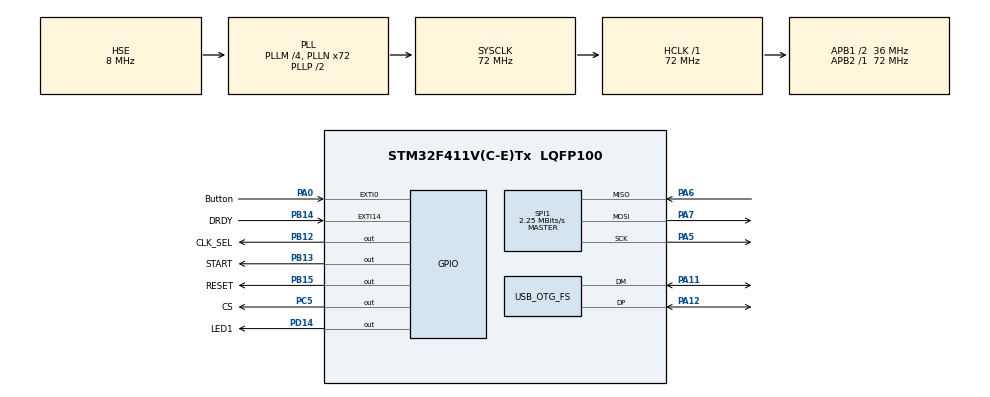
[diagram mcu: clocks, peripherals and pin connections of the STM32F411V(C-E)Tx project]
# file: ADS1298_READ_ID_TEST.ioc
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Mcu.Family=STM32F4
Mcu.Name=STM32F411V(C-E)Tx
Mcu.Package=LQFP100
NVIC.EXTI0_IRQn=true\:0\:0\:false\:false\:true\:true\:true
NVIC.EXTI15_10_IRQn=true\:0\:0\:false\:false\:true\:true\:true
NVIC.OTG_FS_IRQn=true\:0\:0\:false\:false\:true\:false\:true
NVIC.PriorityGroup=NVIC_PRIORITYGROUP_4
PA0-WKUP.GPIO_Label=Button
PA0-WKUP.Signal=GPXTI0
PA11.Mode=Device_Only
PA11.Signal=USB_OTG_FS_DM
PA12.Mode=Device_Only
PA12.Signal=USB_OTG_FS_DP
PA5.Mode=Full_Duplex_Master
PA5.Signal=SPI1_SCK
PA6.Mode=Full_Duplex_Master
PA6.Signal=SPI1_MISO
PA7.Mode=Full_Duplex_Master
PA7.Signal=SPI1_MOSI
PB12.GPIO_Label=CLK_SEL
PB12.Signal=GPIO_Output
PB13.GPIO_Label=START
PB13.Signal=GPIO_Output
PB14.GPIO_Label=DRDY
PB14.GPIO_PuPd=GPIO_PULLDOWN
PB14.Signal=GPXTI14
PB15.GPIO_Label=RESET
PB15.Signal=GPIO_Output
PC5.GPIO_Label=CS
PC5.PinState=GPIO_PIN_SET
PC5.Signal=GPIO_Output
PD14.GPIO_Label=LED1
PD14.Signal=GPIO_Output
PH0\ -\ OSC_IN.Mode=HSE-External-Oscillator
PH0\ -\ OSC_IN.Signal=RCC_OSC_IN
PH1\ -\ OSC_OUT.Mode=HSE-External-Oscillator
PH1\ -\ OSC_OUT.Signal=RCC_OSC_OUT
ProjectManager.HeapSize=0x200
ProjectManager.StackSize=0x400
ProjectManager.TargetToolchain=TrueSTUDIO
RCC.48MHZClocksFreq_Value=48000000
RCC.AHBFreq_Value=72000000
RCC.APB1CLKDivider=RCC_HCLK_DIV2
RCC.APB1Freq_Value=36000000
RCC.APB1TimFreq_Value=72000000
RCC.APB2Freq_Value=72000000
RCC.APB2TimFreq_Value=72000000
RCC.CortexFreq_Value=72000000
RCC.EnbaleCSS=true
RCC.HCLKFreq_Value=72000000
RCC.HSE_VALUE=8000000
RCC.HSI_VALUE=16000000
RCC.LSE_VALUE=32768
RCC.PLLM=4
RCC.PLLN=72
RCC.PLLQ=3
RCC.SYSCLKFreq_VALUE=72000000
RCC.SYSCLKSource=RCC_SYSCLKSOURCE_PLLCLK
RCC.VCOOutputFreq_Value=144000000
SPI1.BaudRatePrescaler=SPI_BAUDRATEPRESCALER_32
SPI1.CLKPhase=SPI_PHASE_2EDGE
SPI1.CalculateBaudRate=2.25 MBits/s
SPI1.Direction=SPI_DIRECTION_2LINES
SPI1.Mode=SPI_MODE_MASTER
SPI1.VirtualType=VM_MASTER
USB_DEVICE.CLASS_NAME_FS=CDC
USB_DEVICE.VirtualMode=Cdc
USB_DEVICE.VirtualModeFS=Cdc_FS
USB_OTG_FS.VirtualMode=Device_Only
VP_USB_DEVICE_VS_USB_DEVICE_CDC_FS.Mode=CDC_FS
board=custom

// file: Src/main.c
/* USER CODE BEGIN Header */
/**
  ******************************************************************************
  * @file           : main.c
  * @brief          : Main program body
  ******************************************************************************
  * @attention
  *
  * <h2><center>&copy; Copyright (c) 2019 STMicroelectronics.
  * All rights reserved.</center></h2>
  *
  * This software component is licensed by ST under Ultimate Liberty license
  * SLA0044, the "License"; You may not use this file except in compliance with
  * the License. You may obtain a copy of the License at:
  *                             www.st.com/SLA0044
  *
  ******************************************************************************
  */
/* USER CODE END Header */

#include "main.h"
#include "stm32f4xx_hal.h"

#include "usb_device.h"

#include <string.h>

#include "usbd_cdc_if.h"

#include "stdbool.h"

/* USER CODE BEGIN PV */
/* Private variables ---------------------------------------------------------*/
uint8_t DataToSend[40]; //
uint8_t MessageCounter = 0;
uint8_t MessageLength = 0;
/* USER CODE END PV */
bool intDRDY = false; // Flag to ready data from ADS1298
/* USER CODE BEGIN PD */
// system commands
#define  WAKEUP 0x02
#define  STANDBY 0x04
#define  RESET 0x06
#define START 0x08
#define STOP 0x0A

// read commands
#define RDATAC 0x10
#define SDATAC 0x11
#define RDATA  0x12

// register commands
#define RREG 0x20
#define WREG 0x40

//Register Addresses
#define ID 0x00
#define CONFIG1 0x01
#define CONFIG2 0x02
#define CONFIG3 0x03
#define LOFF 0x04
#define CH1SET 0x05
#define CH2SET 0x06
#define CH3SET 0x07
#define CH4SET 0x08
#define CH5SET 0x09
#define CH6SET 0x0A
#define CH7SET 0x0B
#define CH8SET 0x0C
#define BIAS_SENSP 0x0D
#define BIAS_SENSN 0x0E
#define LOFF_SENSP 0x0F
#define LOFF_SENSN 0x10
#define LOFF_FLIP 0x11
#define LOFF_STATP 0x12
#define LOFF_STATN 0x13
#define GPIO 0x14
#define MISC1 0x15
#define MISC2 0x16
#define CONFIG4 0x17
/* USER CODE END PD */

SPI_HandleTypeDef hspi1;

void SystemClock_Config(void);
static void MX_GPIO_Init(void);
static void MX_SPI1_Init(void);

int32_t channelData [50];	// array used when reading channel data board 1+2
uint8_t channelData1 [28];	// array used when reading channel data board 1+2

int stat_1;

uint8_t transferSPI(uint8_t send);

void ADS_SEND_COMMAND(uint8_t cmd)
{
	HAL_GPIO_WritePin(CS_GPIO_Port, CS_Pin, GPIO_PIN_RESET);	//  Open SPI
	transferSPI(cmd); 		//  opcode1
	//DelayUs(1);
	HAL_GPIO_WritePin(CS_GPIO_Port, CS_Pin, GPIO_PIN_SET);		//  close SPI
}

uint8_t ADS_RREG(uint8_t reg){		//  reads ONE register at _address

	uint8_t val = 0;

	HAL_GPIO_WritePin(CS_GPIO_Port, CS_Pin, GPIO_PIN_RESET);			//  open SPI
	transferSPI(RREG|reg ); 								//  opcode1
	transferSPI(0); 											//  opcode2
	val = transferSPI(0);		//  update mirror location with returned byte
	HAL_GPIO_WritePin(CS_GPIO_Port, CS_Pin, GPIO_PIN_SET);				//  close SPI

	return val;
}

void ADS_WREG(uint8_t reg, uint8_t val)
{
	HAL_GPIO_WritePin(CS_GPIO_Port, CS_Pin, GPIO_PIN_RESET);
	transferSPI(WREG |reg);
	transferSPI(0x00);
	transferSPI(val);
	HAL_GPIO_WritePin(CS_GPIO_Port, CS_Pin, GPIO_PIN_SET);
}

int READ_ID()
{
	uint8_t gIDval;

	HAL_Delay(400);
	ADS_SEND_COMMAND(SDATAC);
	HAL_Delay(100);
	gIDval = ADS_RREG(ID);
	HAL_Delay(100);

	return gIDval;

}

void ADS1298_Init()
{
	// CS (0) | Reset (1) | Start (2) | CLKSEL (3)
	HAL_Delay(100);
	HAL_GPIO_WritePin(GPIOB, RESET_Pin, GPIO_PIN_RESET);
	HAL_Delay(1);
	HAL_GPIO_WritePin(GPIOB, RESET_Pin, GPIO_PIN_SET);
	HAL_Delay(500);

	ADS_SEND_COMMAND(SDATAC);
	HAL_Delay(100);

	ADS_WREG(CONFIG3,0xC0);
	HAL_Delay(500);

	ADS_WREG(CONFIG1,0x06); //04 = 100,03 = 2000, 05 = 500, 06 = 250
	HAL_Delay(100);

	ADS_WREG(CH1SET,0x10);
	HAL_Delay(100);
	ADS_WREG(CH2SET,0x10);
	HAL_Delay(100);
	ADS_WREG(CH3SET,0x91);
	HAL_Delay(100);
	ADS_WREG(CH4SET,0x91);
	HAL_Delay(100);
	ADS_WREG(CH5SET,0x91);
	HAL_Delay(100);
	ADS_WREG(CH6SET,0x91);
	HAL_Delay(100);
	ADS_WREG(CH7SET,0x91);
	HAL_Delay(100);
	ADS_WREG(CH8SET,0x91);
	HAL_Delay(100);

	ADS_WREG(GPIO, 0x00);
	HAL_Delay(100);

	HAL_GPIO_WritePin(GPIOB, START_Pin, GPIO_PIN_SET);

	ADS_SEND_COMMAND(RDATAC);
}

void ADS_updateChannelData(){
	uint8_t inByte;
	int i,j;				// iterator in loop
	for(i = 0; i < 9; i++){
		channelData[i] = 0;
	}

	HAL_GPIO_WritePin(CS_GPIO_Port, CS_Pin, GPIO_PIN_RESET);
	for(i = 0; i < 9; i++){
		for( j=0; j<3; j++){		//  read 24 bits of channel data from 1st ADS in 8 3 byte chunks
			inByte = transferSPI(0x00);
			channelData[i] = (channelData[i]<<8) | inByte;
		}
	}

	MessageLength = sprintf(DataToSend, "%02X,%02X,%02X,%02X,%02X,%02X,%02X,%02X\n\r", channelData[1],channelData[2],channelData[3],channelData[4],channelData[5],channelData[6],channelData[7],channelData[8]);
	CDC_Transmit_FS(DataToSend, MessageLength);

	HAL_GPIO_WritePin(CS_GPIO_Port, CS_Pin, GPIO_PIN_SET);
}

int main(void)
{
	uint8_t mybuff[20] = "Hello world\r\n";

  /* MCU Configuration--------------------------------------------------------*/

  /* Reset of all peripherals, Initializes the Flash interface and the Systick. */
  HAL_Init();

  /* Configure the system clock */
  SystemClock_Config();

  /* Initialize all configured peripherals */
  MX_GPIO_Init();
  MX_SPI1_Init();
  MX_USB_DEVICE_Init();
  CDC_Transmit_FS(mybuff,strlen((char *)mybuff));
  	/* Infinite loop */
  	/* USER CODE BEGIN WHILE */

  MessageCounter = READ_ID();
  MessageLength = sprintf(DataToSend, "Device ID = 0x%02X\n\r", MessageCounter);
  CDC_Transmit_FS(DataToSend, MessageLength);
  HAL_Delay(1000);

  ADS1298_Init();

  while (1)
  {
    /* USER CODE END WHILE */

  }
}

void SystemClock_Config(void)
{
  RCC_OscInitTypeDef RCC_OscInitStruct = {0};
  RCC_ClkInitTypeDef RCC_ClkInitStruct = {0};

  /** Configure the main internal regulator output voltage
  */
  __HAL_RCC_PWR_CLK_ENABLE();
  __HAL_PWR_VOLTAGESCALING_CONFIG(PWR_REGULATOR_VOLTAGE_SCALE1);
  /** Initializes the CPU, AHB and APB busses clocks
  */
  RCC_OscInitStruct.OscillatorType = RCC_OSCILLATORTYPE_HSE;
  RCC_OscInitStruct.HSEState = RCC_HSE_ON;
  RCC_OscInitStruct.PLL.PLLState = RCC_PLL_ON;
  RCC_OscInitStruct.PLL.PLLSource = RCC_PLLSOURCE_HSE;
  RCC_OscInitStruct.PLL.PLLM = 4;
  RCC_OscInitStruct.PLL.PLLN = 72;
  RCC_OscInitStruct.PLL.PLLP = RCC_PLLP_DIV2;
  RCC_OscInitStruct.PLL.PLLQ = 3;
  if (HAL_RCC_OscConfig(&RCC_OscInitStruct) != HAL_OK)
  {
    Error_Handler();
  }
  /** Initializes the CPU, AHB and APB busses clocks
  */
  RCC_ClkInitStruct.ClockType = RCC_CLOCKTYPE_HCLK|RCC_CLOCKTYPE_SYSCLK
                              |RCC_CLOCKTYPE_PCLK1|RCC_CLOCKTYPE_PCLK2;
  RCC_ClkInitStruct.SYSCLKSource = RCC_SYSCLKSOURCE_PLLCLK;
  RCC_ClkInitStruct.AHBCLKDivider = RCC_SYSCLK_DIV1;
  RCC_ClkInitStruct.APB1CLKDivider = RCC_HCLK_DIV2;
  RCC_ClkInitStruct.APB2CLKDivider = RCC_HCLK_DIV1;

  if (HAL_RCC_ClockConfig(&RCC_ClkInitStruct, FLASH_LATENCY_2) != HAL_OK)
  {
    Error_Handler();
  }
  /** Enables the Clock Security System
  */
  HAL_RCC_EnableCSS();
}

static void MX_SPI1_Init(void)
{

  /* SPI1 parameter configuration*/
  hspi1.Instance = SPI1;
  hspi1.Init.Mode = SPI_MODE_MASTER;
  hspi1.Init.Direction = SPI_DIRECTION_2LINES;
  hspi1.Init.DataSize = SPI_DATASIZE_8BIT;
  hspi1.Init.CLKPolarity = SPI_POLARITY_LOW;
  hspi1.Init.CLKPhase = SPI_PHASE_2EDGE;
  hspi1.Init.NSS = SPI_NSS_SOFT;
  hspi1.Init.BaudRatePrescaler = SPI_BAUDRATEPRESCALER_16;
  hspi1.Init.FirstBit = SPI_FIRSTBIT_MSB;
  hspi1.Init.TIMode = SPI_TIMODE_DISABLE;
  hspi1.Init.CRCCalculation = SPI_CRCCALCULATION_DISABLE;
  hspi1.Init.CRCPolynomial = 10;
  if (HAL_SPI_Init(&hspi1) != HAL_OK)
  {
    Error_Handler();
  }

}

static void MX_GPIO_Init(void)
{
  GPIO_InitTypeDef GPIO_InitStruct = {0};

  /* GPIO Ports Clock Enable */
  __HAL_RCC_GPIOH_CLK_ENABLE();
  __HAL_RCC_GPIOA_CLK_ENABLE();
  __HAL_RCC_GPIOC_CLK_ENABLE();
  __HAL_RCC_GPIOB_CLK_ENABLE();
  __HAL_RCC_GPIOD_CLK_ENABLE();

  /*Configure GPIO pin Output Level */
  HAL_GPIO_WritePin(CS_GPIO_Port, CS_Pin, GPIO_PIN_SET);

  HAL_GPIO_WritePin(GPIOB, RESET_Pin, GPIO_PIN_SET); // Reset pin needs to be high

  /*Configure GPIO pin Output Level */
  HAL_GPIO_WritePin(GPIOB, CLK_SEL_Pin|START_Pin, GPIO_PIN_RESET);

  /*Configure GPIO pin Output Level */
  HAL_GPIO_WritePin(LED1_GPIO_Port, LED1_Pin, GPIO_PIN_RESET);

  /*Configure GPIO pin : Button_Pin */
  GPIO_InitStruct.Pin = Button_Pin;
  GPIO_InitStruct.Mode = GPIO_MODE_IT_RISING;
  GPIO_InitStruct.Pull = GPIO_NOPULL;
  HAL_GPIO_Init(Button_GPIO_Port, &GPIO_InitStruct);

  /*Configure GPIO pin : CS_Pin */
  GPIO_InitStruct.Pin = CS_Pin;
  GPIO_InitStruct.Mode = GPIO_MODE_OUTPUT_PP;
  GPIO_InitStruct.Pull = GPIO_NOPULL;
  GPIO_InitStruct.Speed = GPIO_SPEED_FREQ_LOW;
  HAL_GPIO_Init(CS_GPIO_Port, &GPIO_InitStruct);

  /*Configure GPIO pins : CLK_SEL_Pin START_Pin RESET_Pin */
  GPIO_InitStruct.Pin = CLK_SEL_Pin|START_Pin|RESET_Pin;
  GPIO_InitStruct.Mode = GPIO_MODE_OUTPUT_PP;
  GPIO_InitStruct.Pull = GPIO_NOPULL;
  GPIO_InitStruct.Speed = GPIO_SPEED_FREQ_LOW;
  HAL_GPIO_Init(GPIOB, &GPIO_InitStruct);

  /*Configure GPIO pin : DRDY_Pin */
  GPIO_InitStruct.Pin = DRDY_Pin;
  GPIO_InitStruct.Mode = GPIO_MODE_IT_FALLING;
  GPIO_InitStruct.Pull = GPIO_PULLDOWN;
  HAL_GPIO_Init(DRDY_GPIO_Port, &GPIO_InitStruct);

  /*Configure GPIO pin : LED1_Pin */
  GPIO_InitStruct.Pin = LED1_Pin;
  GPIO_InitStruct.Mode = GPIO_MODE_OUTPUT_PP;
  GPIO_InitStruct.Pull = GPIO_NOPULL;
  GPIO_InitStruct.Speed = GPIO_SPEED_FREQ_LOW;
  HAL_GPIO_Init(LED1_GPIO_Port, &GPIO_InitStruct);

  /* EXTI interrupt init*/
  HAL_NVIC_SetPriority(EXTI0_IRQn, 0, 0);
  HAL_NVIC_EnableIRQ(EXTI0_IRQn);

  HAL_NVIC_SetPriority(EXTI15_10_IRQn, 0, 0);
  HAL_NVIC_EnableIRQ(EXTI15_10_IRQn);

}

/*------------ SPI --------------------*/
uint8_t transferSPI(uint8_t send){
	uint8_t rx = 0x00;

	HAL_SPI_TransmitReceive(&hspi1, &send, &rx, sizeof(rx),0x1000);

	return rx;
}

/* ----------------- Interrupt ----------------------*/
void HAL_GPIO_EXTI_Callback(uint16_t GPIO_Pin){

	if(GPIO_Pin == DRDY_Pin){
		ADS_updateChannelData();
	}

}

/* USER CODE END 4 */

void Error_Handler(void)
{
}

/************************ (C) COPYRIGHT STMicroelectronics *****END OF FILE****/
